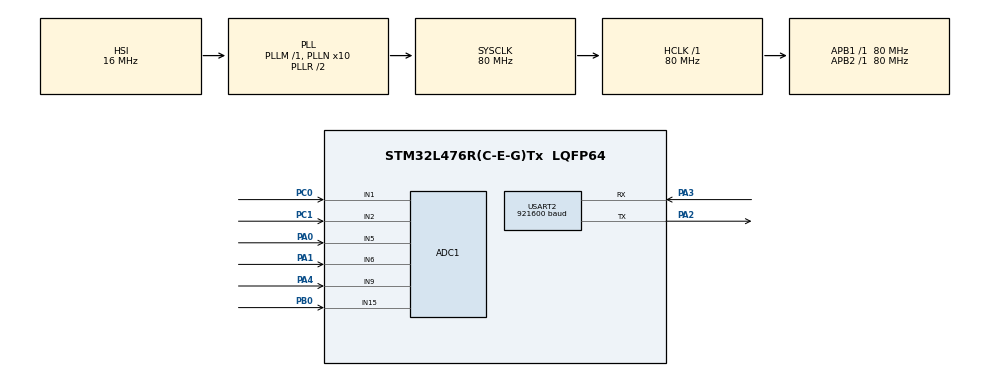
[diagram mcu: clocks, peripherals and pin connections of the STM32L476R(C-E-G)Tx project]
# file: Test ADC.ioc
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ADC1.Channel-0\#ChannelRegularConversion=ADC_CHANNEL_5
ADC1.Channel-1\#ChannelRegularConversion=ADC_CHANNEL_6
ADC1.Channel-2\#ChannelRegularConversion=ADC_CHANNEL_9
ADC1.Channel-3\#ChannelRegularConversion=ADC_CHANNEL_15
ADC1.Channel-4\#ChannelRegularConversion=ADC_CHANNEL_2
ADC1.Channel-5\#ChannelRegularConversion=ADC_CHANNEL_1
ADC1.ClockPrescaler=ADC_CLOCK_ASYNC_DIV16
ADC1.ContinuousConvMode=DISABLE
ADC1.DMAContinuousRequests=ENABLE
ADC1.EOCSelection=ADC_EOC_SEQ_CONV
ADC1.EnableInjectedConversion=DISABLE
ADC1.ExternalTrigConv=ADC_EXTERNALTRIG_T2_TRGO
ADC1.NbrOfConversion=6
ADC1.NbrOfConversionFlag=1
ADC1.OffsetNumber-0\#ChannelRegularConversion=ADC_OFFSET_NONE
ADC1.OffsetNumber-1\#ChannelRegularConversion=ADC_OFFSET_NONE
ADC1.OffsetNumber-2\#ChannelRegularConversion=ADC_OFFSET_NONE
ADC1.OffsetNumber-3\#ChannelRegularConversion=ADC_OFFSET_NONE
ADC1.OffsetNumber-4\#ChannelRegularConversion=ADC_OFFSET_NONE
ADC1.OffsetNumber-5\#ChannelRegularConversion=ADC_OFFSET_NONE
ADC1.Overrun=ADC_OVR_DATA_OVERWRITTEN
ADC1.Rank-0\#ChannelRegularConversion=1
ADC1.Rank-1\#ChannelRegularConversion=2
ADC1.Rank-2\#ChannelRegularConversion=3
ADC1.Rank-3\#ChannelRegularConversion=4
ADC1.Rank-4\#ChannelRegularConversion=5
ADC1.Rank-5\#ChannelRegularConversion=6
ADC1.Rank1_Channel=ADC_CHANNEL_1
ADC1.Rank2_Channel=ADC_CHANNEL_1
ADC1.Rank3_Channel=ADC_CHANNEL_1
ADC1.Rank4_Channel=ADC_CHANNEL_1
ADC1.SamplingTime-0\#ChannelRegularConversion=ADC_SAMPLETIME_47CYCLES_5
ADC1.SamplingTime-1\#ChannelRegularConversion=ADC_SAMPLETIME_47CYCLES_5
ADC1.SamplingTime-2\#ChannelRegularConversion=ADC_SAMPLETIME_47CYCLES_5
ADC1.SamplingTime-3\#ChannelRegularConversion=ADC_SAMPLETIME_47CYCLES_5
ADC1.SamplingTime-4\#ChannelRegularConversion=ADC_SAMPLETIME_47CYCLES_5
ADC1.SamplingTime-5\#ChannelRegularConversion=ADC_SAMPLETIME_47CYCLES_5
ADC1.master=1
Dma.ADC1.0.Direction=DMA_PERIPH_TO_MEMORY
Dma.ADC1.0.Instance=DMA1_Channel1
Dma.ADC1.0.MemDataAlignment=DMA_MDATAALIGN_HALFWORD
Dma.ADC1.0.MemInc=DMA_MINC_ENABLE
Dma.ADC1.0.Mode=DMA_CIRCULAR
Dma.ADC1.0.PeriphDataAlignment=DMA_PDATAALIGN_HALFWORD
Dma.ADC1.0.PeriphInc=DMA_PINC_DISABLE
Dma.ADC1.0.Priority=DMA_PRIORITY_HIGH
Dma.Request0=ADC1
Mcu.Family=STM32L4
Mcu.Name=STM32L476R(C-E-G)Tx
Mcu.Package=LQFP64
NVIC.DMA1_Channel1_IRQn=true\:0\:0\:true\:false\:true\:false\:true\:true
NVIC.PriorityGroup=NVIC_PRIORITYGROUP_4
PA0.Signal=ADCx_IN5
PA1.Signal=ADCx_IN6
PA2.Mode=Asynchronous
PA2.Signal=USART2_TX
PA3.Mode=Asynchronous
PA3.Signal=USART2_RX
PA4.Signal=ADCx_IN9
PB0.Signal=ADCx_IN15
PC0.Signal=ADCx_IN1
PC1.Signal=ADCx_IN2
ProjectManager.HeapSize=0x800
ProjectManager.StackSize=0x800
ProjectManager.TargetToolchain=STM32CubeIDE
RCC.ADCCLockSelection=RCC_ADCCLKSOURCE_PLLSAI2
RCC.ADCFreq_Value=21333333.333333332
RCC.AHBFreq_Value=80000000
RCC.APB1Freq_Value=80000000
RCC.APB1TimFreq_Value=80000000
RCC.APB2Freq_Value=80000000
RCC.APB2TimFreq_Value=80000000
RCC.CortexFreq_Value=80000000
RCC.HCLKFreq_Value=80000000
RCC.HSE_VALUE=8000000
RCC.HSI_VALUE=16000000
RCC.LSE_VALUE=32768
RCC.MSI_VALUE=4000000
RCC.PLLN=10
RCC.PLLR=2
RCC.PLLSAI1R=RCC_PLLR_DIV6
RCC.PLLSAI2R=RCC_PLLR_DIV6
RCC.PLLSourceVirtual=RCC_PLLSOURCE_HSI
RCC.PREFETCH_ENABLE=1
RCC.SYSCLKFreq_VALUE=80000000
RCC.SYSCLKSource=RCC_SYSCLKSOURCE_PLLCLK
RCC.USBFreq_Value=64000000
RCC.VCOOutputFreq_Value=160000000
SH.ADCx_IN1.0=ADC1_IN1,IN1-Single-Ended
SH.ADCx_IN15.0=ADC1_IN15,IN15-Single-Ended
SH.ADCx_IN2.0=ADC1_IN2,IN2-Single-Ended
SH.ADCx_IN5.0=ADC1_IN5,IN5-Single-Ended
SH.ADCx_IN6.0=ADC1_IN6,IN6-Single-Ended
SH.ADCx_IN9.0=ADC1_IN9,IN9-Single-Ended
STMicroelectronics.X-CUBE-AI.10.2.0.HeapSize=0x800
STMicroelectronics.X-CUBE-AI.10.2.0.ReadyForCodeGeneration=false
STMicroelectronics.X-CUBE-AI.10.2.0.StackSize=0x800
STMicroelectronics.X-CUBE-AI.10.2.0.XAaCUBEAaAICcArtificialOoIntelligenceJjCore=true
STMicroelectronics.X-CUBE-AI.10.2.0.copyWeightToRam=false
STMicroelectronics.X-CUBE-AI.10.2.0.customLayerConfigEnabled=false
STMicroelectronics.X-CUBE-AI.10.2.0.noOnnxIoTranspose=false
STMicroelectronics.X-CUBE-AI.10.2.0.useInputAllocation=true
STMicroelectronics.X-CUBE-AI.10.2.0.useOutputAllocation=true
TIM2.Period=39
TIM2.Prescaler=1999
TIM2.TIM_MasterOutputTrigger=TIM_TRGO_UPDATE
USART2.BaudRate=921600
USART2.VirtualMode-Asynchronous=VM_ASYNC
VP_STMicroelectronics.X-CUBE-AI_VS_ArtificialOoIntelligenceJjXAaCUBEAaAI_10.2.0.Mode=ArtificialOoIntelligenceJjXAaCUBEAaAI
VP_TIM2_VS_ClockSourceINT.Mode=Internal
board=custom

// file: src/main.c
/* USER CODE BEGIN Header */
/**
  ******************************************************************************
  * @file           : main.c
  * @brief          : Main program body
  ******************************************************************************
  * @attention
  *
  * Copyright (c) 2025 STMicroelectronics.
  * All rights reserved.
  *
  * This software is licensed under terms that can be found in the LICENSE file
  * in the root directory of this software component.
  * If no LICENSE file comes with this software, it is provided AS-IS.
  *
  ******************************************************************************
  */
/* USER CODE END Header */
#include "main.h"

/* USER CODE BEGIN Includes */
#include <stdio.h>
#include <string.h>
#include <math.h>

/* USER CODE END Includes */

ADC_HandleTypeDef hadc1;
DMA_HandleTypeDef hdma_adc1;

TIM_HandleTypeDef htim2;

UART_HandleTypeDef huart2;

/* USER CODE BEGIN PV */

//------------------------------------------------------------------------------------------- VARIABLES DE MESURES ----------------------------------------

// Variables pour le filtre passe-haut (1er ordre)
// y[n] = ALPHA * (y[n-1] + x[n] - x[n-1])
// Fréquence de coupure ~ 0.5 Hz
#define ALPHA 0.997f

// Buffer DMA pour ADC (6 canaux)
uint16_t adc_buffer[6];

// Buffer de valeur post filtrée passe haut
int16_t valeurs_filtrees[6];

// Flag de fin d'acquisition
volatile uint32_t conversion_complete = 0;
uint32_t last_processed = 0;

// Flag UART disponible
volatile uint8_t uart_tx_complete = 1;

/* USER CODE END PV */

void SystemClock_Config(void);
static void MX_GPIO_Init(void);
static void MX_DMA_Init(void);
static void MX_ADC1_Init(void);
static void MX_USART2_UART_Init(void);
static void MX_TIM2_Init(void);

int main(void)
{

  /* MCU Configuration--------------------------------------------------------*/

  /* Reset of all peripherals, Initializes the Flash interface and the Systick. */
  HAL_Init();

  /* Configure the system clock */
  SystemClock_Config();

  /* Initialize all configured peripherals */
  MX_GPIO_Init();
  MX_DMA_Init();
  MX_ADC1_Init();
  MX_USART2_UART_Init();
  MX_TIM2_Init();
  /* USER CODE BEGIN 2 */

  /* Calibration de l'ADC */
      HAL_ADCEx_Calibration_Start(&hadc1, ADC_SINGLE_ENDED);

  //Demarrage du DMA
      HAL_ADC_Start_DMA(&hadc1, (uint32_t*)adc_buffer, 6);

  /* Lancement des timers */
      HAL_TIM_Base_Start(&htim2);

  /* uart packet buffer */
      uint8_t uart_packet[13];

  /* USER CODE END 2 */

  /* Infinite loop */
  /* USER CODE BEGIN WHILE */

        // ------------------------------------------------------------------ VARIABLES BOUCLE --------------------------------------------

        float hp_prev[6] = {0};      // Sortie précédente du filtre
        float input_prev[6] = {0};   // Entrée précédente

        // -------------------------------------------------------------- BOUCLE PRINCIPALE ----------------------------------------------
        while (1)
        {
            //----------------------------------------------------------- AQUISITION -----------------------------------------------------
            // Attente du callback de conversion
            while(conversion_complete == last_processed);
            last_processed = conversion_complete;

            //----------------------------------------------------------- TRAITEMENT ------------------------------------------------------
                // Filtrer les 6 canaux
                for(int i = 0; i < 6; i++) {
                    float input = (float)adc_buffer[i];

                    // Filtre passe-haut
                    float output = ALPHA * (hp_prev[i] + input - input_prev[i]);

                    // Sauvegarder pour prochaine itération
                    hp_prev[i] = output;
                    input_prev[i] = input;

                    // Convertir en int16_t
                    valeurs_filtrees[i] = (int16_t)output;
                }

                uart_packet[0] = 0xAA;  // Header (byte d'identification)
                memcpy(&uart_packet[1], valeurs_filtrees, 12);  // Copier les valeurs filtrees

                // Envoyer en BINAIRE (12 bytes : 6 × int16_t)
                HAL_UART_Transmit(&huart2, uart_packet, 13, 1);

    /* USER CODE END WHILE */

        }
}

void SystemClock_Config(void)
{
  RCC_OscInitTypeDef RCC_OscInitStruct = {0};
  RCC_ClkInitTypeDef RCC_ClkInitStruct = {0};

  /** Configure the main internal regulator output voltage
  */
  if (HAL_PWREx_ControlVoltageScaling(PWR_REGULATOR_VOLTAGE_SCALE1) != HAL_OK)
  {
    Error_Handler();
  }

  /** Initializes the RCC Oscillators according to the specified parameters
  * in the RCC_OscInitTypeDef structure.
  */
  RCC_OscInitStruct.OscillatorType = RCC_OSCILLATORTYPE_HSI;
  RCC_OscInitStruct.HSIState = RCC_HSI_ON;
  RCC_OscInitStruct.HSICalibrationValue = RCC_HSICALIBRATION_DEFAULT;
  RCC_OscInitStruct.PLL.PLLState = RCC_PLL_ON;
  RCC_OscInitStruct.PLL.PLLSource = RCC_PLLSOURCE_HSI;
  RCC_OscInitStruct.PLL.PLLM = 1;
  RCC_OscInitStruct.PLL.PLLN = 10;
  RCC_OscInitStruct.PLL.PLLP = RCC_PLLP_DIV7;
  RCC_OscInitStruct.PLL.PLLQ = RCC_PLLQ_DIV2;
  RCC_OscInitStruct.PLL.PLLR = 2;
  if (HAL_RCC_OscConfig(&RCC_OscInitStruct) != HAL_OK)
  {
    Error_Handler();
  }

  /** Initializes the CPU, AHB and APB buses clocks
  */
  RCC_ClkInitStruct.ClockType = RCC_CLOCKTYPE_HCLK|RCC_CLOCKTYPE_SYSCLK
                              |RCC_CLOCKTYPE_PCLK1|RCC_CLOCKTYPE_PCLK2;
  RCC_ClkInitStruct.SYSCLKSource = RCC_SYSCLKSOURCE_PLLCLK;
  RCC_ClkInitStruct.AHBCLKDivider = RCC_SYSCLK_DIV1;
  RCC_ClkInitStruct.APB1CLKDivider = RCC_HCLK_DIV1;
  RCC_ClkInitStruct.APB2CLKDivider = RCC_HCLK_DIV1;

  if (HAL_RCC_ClockConfig(&RCC_ClkInitStruct, FLASH_LATENCY_4) != HAL_OK)
  {
    Error_Handler();
  }
}

static void MX_ADC1_Init(void)
{

  ADC_MultiModeTypeDef multimode = {0};
  ADC_ChannelConfTypeDef sConfig = {0};

  /** Common config
  */
  hadc1.Instance = ADC1;
  hadc1.Init.ClockPrescaler = ADC_CLOCK_ASYNC_DIV16;
  hadc1.Init.Resolution = ADC_RESOLUTION_12B;
  hadc1.Init.DataAlign = ADC_DATAALIGN_RIGHT;
  hadc1.Init.ScanConvMode = ADC_SCAN_ENABLE;
  hadc1.Init.EOCSelection = ADC_EOC_SEQ_CONV;
  hadc1.Init.LowPowerAutoWait = DISABLE;
  hadc1.Init.ContinuousConvMode = DISABLE;
  hadc1.Init.NbrOfConversion = 6;
  hadc1.Init.DiscontinuousConvMode = DISABLE;
  hadc1.Init.ExternalTrigConv = ADC_EXTERNALTRIG_T2_TRGO;
  hadc1.Init.ExternalTrigConvEdge = ADC_EXTERNALTRIGCONVEDGE_RISING;
  hadc1.Init.DMAContinuousRequests = ENABLE;
  hadc1.Init.Overrun = ADC_OVR_DATA_OVERWRITTEN;
  hadc1.Init.OversamplingMode = DISABLE;
  if (HAL_ADC_Init(&hadc1) != HAL_OK)
  {
    Error_Handler();
  }

  /** Configure the ADC multi-mode
  */
  multimode.Mode = ADC_MODE_INDEPENDENT;
  if (HAL_ADCEx_MultiModeConfigChannel(&hadc1, &multimode) != HAL_OK)
  {
    Error_Handler();
  }

  /** Configure Regular Channel
  */
  sConfig.Channel = ADC_CHANNEL_5;
  sConfig.Rank = ADC_REGULAR_RANK_1;
  sConfig.SamplingTime = ADC_SAMPLETIME_47CYCLES_5;
  sConfig.SingleDiff = ADC_SINGLE_ENDED;
  sConfig.OffsetNumber = ADC_OFFSET_NONE;
  sConfig.Offset = 0;
  if (HAL_ADC_ConfigChannel(&hadc1, &sConfig) != HAL_OK)
  {
    Error_Handler();
  }

  /** Configure Regular Channel
  */
  sConfig.Channel = ADC_CHANNEL_6;
  sConfig.Rank = ADC_REGULAR_RANK_2;
  if (HAL_ADC_ConfigChannel(&hadc1, &sConfig) != HAL_OK)
  {
    Error_Handler();
  }

  /** Configure Regular Channel
  */
  sConfig.Channel = ADC_CHANNEL_9;
  sConfig.Rank = ADC_REGULAR_RANK_3;
  if (HAL_ADC_ConfigChannel(&hadc1, &sConfig) != HAL_OK)
  {
    Error_Handler();
  }

  /** Configure Regular Channel
  */
  sConfig.Channel = ADC_CHANNEL_15;
  sConfig.Rank = ADC_REGULAR_RANK_4;
  if (HAL_ADC_ConfigChannel(&hadc1, &sConfig) != HAL_OK)
  {
    Error_Handler();
  }

  /** Configure Regular Channel
  */
  sConfig.Channel = ADC_CHANNEL_2;
  sConfig.Rank = ADC_REGULAR_RANK_5;
  if (HAL_ADC_ConfigChannel(&hadc1, &sConfig) != HAL_OK)
  {
    Error_Handler();
  }

  /** Configure Regular Channel
  */
  sConfig.Channel = ADC_CHANNEL_1;
  sConfig.Rank = ADC_REGULAR_RANK_6;
  if (HAL_ADC_ConfigChannel(&hadc1, &sConfig) != HAL_OK)
  {
    Error_Handler();
  }

}

static void MX_TIM2_Init(void)
{

  TIM_ClockConfigTypeDef sClockSourceConfig = {0};
  TIM_MasterConfigTypeDef sMasterConfig = {0};

  htim2.Instance = TIM2;
  htim2.Init.Prescaler = 1999;
  htim2.Init.CounterMode = TIM_COUNTERMODE_UP;
  htim2.Init.Period = 39;
  htim2.Init.ClockDivision = TIM_CLOCKDIVISION_DIV1;
  htim2.Init.AutoReloadPreload = TIM_AUTORELOAD_PRELOAD_DISABLE;
  if (HAL_TIM_Base_Init(&htim2) != HAL_OK)
  {
    Error_Handler();
  }
  sClockSourceConfig.ClockSource = TIM_CLOCKSOURCE_INTERNAL;
  if (HAL_TIM_ConfigClockSource(&htim2, &sClockSourceConfig) != HAL_OK)
  {
    Error_Handler();
  }
  sMasterConfig.MasterOutputTrigger = TIM_TRGO_UPDATE;
  sMasterConfig.MasterSlaveMode = TIM_MASTERSLAVEMODE_DISABLE;
  if (HAL_TIMEx_MasterConfigSynchronization(&htim2, &sMasterConfig) != HAL_OK)
  {
    Error_Handler();
  }

}

static void MX_USART2_UART_Init(void)
{

  huart2.Instance = USART2;
  huart2.Init.BaudRate = 921600;
  huart2.Init.WordLength = UART_WORDLENGTH_8B;
  huart2.Init.StopBits = UART_STOPBITS_1;
  huart2.Init.Parity = UART_PARITY_NONE;
  huart2.Init.Mode = UART_MODE_TX_RX;
  huart2.Init.HwFlowCtl = UART_HWCONTROL_NONE;
  huart2.Init.OverSampling = UART_OVERSAMPLING_16;
  huart2.Init.OneBitSampling = UART_ONE_BIT_SAMPLE_DISABLE;
  huart2.AdvancedInit.AdvFeatureInit = UART_ADVFEATURE_NO_INIT;
  if (HAL_UART_Init(&huart2) != HAL_OK)
  {
    Error_Handler();
  }

}

static void MX_DMA_Init(void)
{

  /* DMA controller clock enable */
  __HAL_RCC_DMA1_CLK_ENABLE();

  /* DMA interrupt init */
  /* DMA1_Channel1_IRQn interrupt configuration */
  HAL_NVIC_SetPriority(DMA1_Channel1_IRQn, 0, 0);
  HAL_NVIC_EnableIRQ(DMA1_Channel1_IRQn);

}

static void MX_GPIO_Init(void)
{

  /* GPIO Ports Clock Enable */
  __HAL_RCC_GPIOC_CLK_ENABLE();
  __HAL_RCC_GPIOA_CLK_ENABLE();
  __HAL_RCC_GPIOB_CLK_ENABLE();

}

/* USER CODE BEGIN 4 */
volatile uint32_t callback_count = 0;
void HAL_ADC_ConvCpltCallback(ADC_HandleTypeDef* hadc)
{
    if(hadc->Instance == ADC1)
    {
        conversion_complete++;
        callback_count++;
    }
}

/* USER CODE END 4 */

void Error_Handler(void)
{
  __disable_irq();
  while (1)
  {
  }
}
